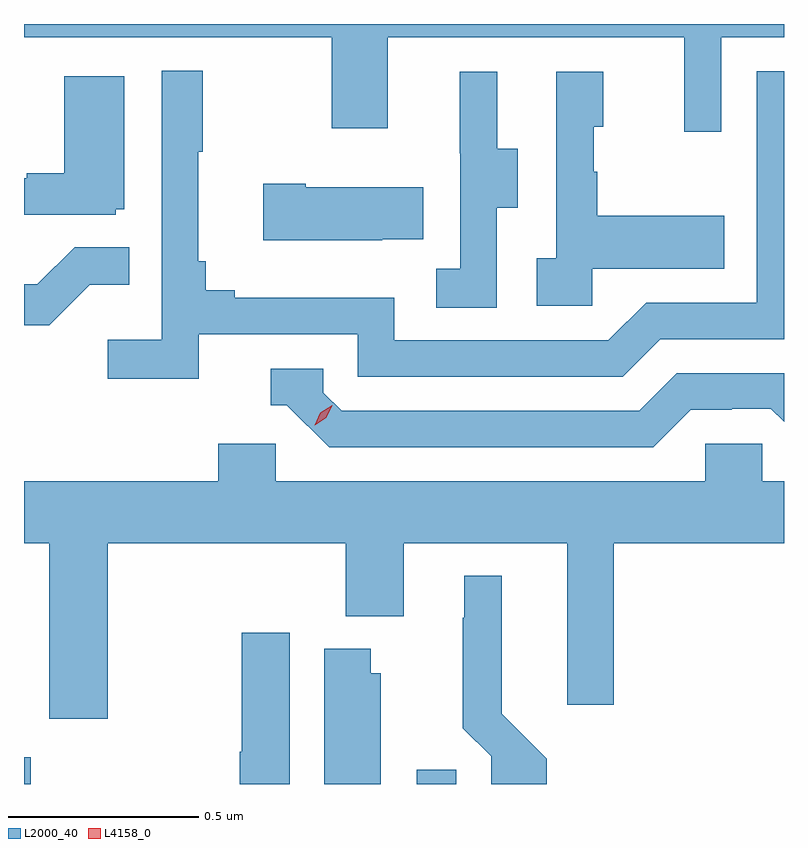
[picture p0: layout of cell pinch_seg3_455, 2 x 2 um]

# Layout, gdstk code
import gdstk
lib = gdstk.Library(unit=1e-6, precision=1e-09)
def R(c, l, rs):  # rectangles x0, y0, x1, y1
    for r in rs: c.add(gdstk.rectangle(r[:2], r[2:], *l))
def P(c, l, *ps):  # polygons
    for p in ps: c.add(gdstk.Polygon(p, *l))
L2000_40 = (2000, 40)
L4158_0 = (4158, 0)

pinch_seg3_455 = lib.new_cell('pinch_seg3_455')
R(pinch_seg3_455, L2000_40, [(948.676,684.299,948.694,684.37), (949.709,684.299,949.813,684.337)])
P(pinch_seg3_455, L2000_40, [(950.511,686.264),(950.676,686.264),(950.676,686.299),(948.676,686.299),(948.676,686.264),(949.486,686.264),(949.486,686.025),(949.633,686.025),(949.633,686.264),(950.414,686.264),(950.414,686.016),(950.511,686.016)],
  [(949.136,685.482),(949.554,685.482),(949.554,685.371),(950.251,685.371),(950.35,685.47),(950.676,685.47),(950.676,686.175),(950.604,686.175),(950.604,685.566),(950.313,685.566),(950.214,685.467),(949.65,685.467),(949.65,685.579),(949.231,685.579),(949.231,685.598),(949.154,685.598),(949.154,685.675),(949.135,685.675),(949.135,685.963),(949.147,685.963),(949.147,686.176),(949.038,686.176),(949.038,685.468),(948.897,685.468),(948.897,685.366),(949.136,685.366)],
  [(950.172,685.655),(950.519,685.655),(950.519,685.795),(950.185,685.795),(950.185,685.91),(950.175,685.91),(950.175,686.028),(950.2,686.028),(950.2,686.173),(950.076,686.173),(950.076,685.682),(950.025,685.682),(950.025,685.557),(950.172,685.557)],
  [(949.92,685.816),(949.975,685.816),(949.975,685.971),(949.921,685.971),(949.921,686.173),(949.823,686.173),(949.823,685.959),(949.824,685.959),(949.824,685.655),(949.761,685.655),(949.761,685.552),(949.92,685.552)],
  [(948.918,685.812),(948.94,685.812),(948.94,686.161),(948.782,686.161),(948.782,685.906),(948.683,685.906),(948.683,685.893),(948.676,685.893),(948.676,685.797),(948.918,685.797)],
  [(949.619,685.733),(949.727,685.733),(949.727,685.87),(949.417,685.87),(949.417,685.878),(949.305,685.878),(949.305,685.73),(949.619,685.73)],
  [(948.849,685.613),(948.953,685.613),(948.953,685.712),(948.809,685.712),(948.711,685.614),(948.676,685.614),(948.676,685.506),(948.742,685.506)],
  [(950.431,685.284),(950.538,685.284),(950.538,685.287),(950.641,685.287),(950.676,685.252),(950.676,685.38),(950.394,685.38),(950.295,685.281),(949.512,685.281),(949.464,685.329),(949.464,685.392),(949.325,685.392),(949.325,685.296),(949.368,685.296),(949.479,685.185),(950.332,685.185)],
  [(948.897,684.932),(949.523,684.932),(949.523,684.74),(949.675,684.74),(949.675,684.932),(950.105,684.932),(950.105,684.507),(950.228,684.507),(950.228,684.932),(950.676,684.932),(950.676,685.096),(950.619,685.096),(950.619,685.194),(950.469,685.194),(950.469,685.096),(949.338,685.096),(949.338,685.194),(949.187,685.194),(949.187,685.096),(948.676,685.096),(948.676,684.932),(948.742,684.932),(948.742,684.471),(948.897,684.471)],
  [(950.051,684.366),(949.933,684.484),(949.933,684.847),(949.835,684.847),(949.835,684.737),(949.831,684.737),(949.831,684.446),(949.905,684.372),(949.905,684.299),(950.051,684.299)],
  [(949.375,684.697),(949.249,684.697),(949.249,684.384),(949.244,684.384),(949.244,684.299),(949.375,684.299)],
  [(949.615,684.591),(949.588,684.591),(949.588,684.655),(949.466,684.655),(949.466,684.299),(949.615,684.299)])
P(pinch_seg3_455, L4158_0, [(949.441,685.243),(949.441,685.243),(949.456,685.276),(949.487,685.296),(949.487,685.296),(949.487,685.296),(949.471,685.263),(949.441,685.243)])

lib.write_gds('pinch_seg3_455.gds')
